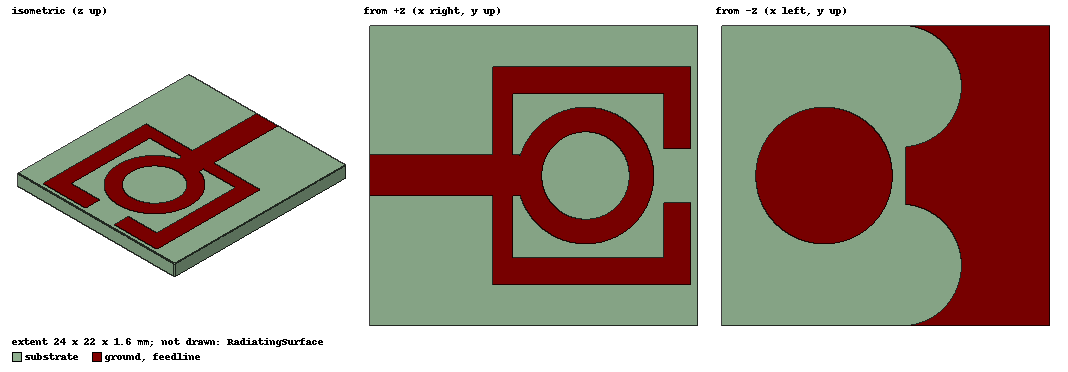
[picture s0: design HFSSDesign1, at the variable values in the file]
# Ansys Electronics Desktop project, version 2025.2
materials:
  vacuum: permittivity=1
  FR4_epoxy: permittivity=4.4 dielectric_loss_tangent=0.02

design HFSSDesign1 (HFSS, HFSS Modal Network, model units mm)
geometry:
  substrate [FR4_epoxy] = box(corner=((-24/2) mm, (-22/2) mm, 0mm), size=(24mm, 22mm, 1.6mm))
  ground = rectangle(corner=(-1.5mm, (-22/2) mm, 0mm), x_size=-10.5mm, y_size=22mm)
  Circle1 = circle(normal=Z, centre=(-1.1mm, 6.55mm, 0mm), radius=4.45mm, segments=100)
  Circle2 = circle(normal=Z, centre=(-1.1mm, -6.55mm, 0mm), radius=4.45mm, segments=100)
  ground.subtract(Circle1, Circle2)
  Circle3 = circle(normal=Z, centre=(4.5mm, 0mm, 0mm), radius=5mm, segments=100)
  feedline = rectangle(corner=(-1mm, 1.5mm, 1.6mm), x_size=-11mm, y_size=-3mm)
  Circle4 = circle(normal=Z, centre=(3.8mm, 0mm, 1.6mm), radius=5mm, segments=100)
  Circle5 = circle(normal=Z, centre=(3.8mm, 0mm, 1.6mm), radius=3.2mm, segments=100)
  feedline.unite(Circle4)
  feedline.subtract(Circle5)
  Rectangle1 = rectangle(corner=(-1.5mm, 1.5mm, 1.6mm), x_size=-1.5mm, y_size=6.5mm)
  Rectangle2 = rectangle(corner=(-1.5mm, -8mm, 1.6mm), x_size=-1.5mm, y_size=6.5mm)
  Rectangle3 = rectangle(corner=(-1.5mm, 8mm, 1.6mm), x_size=13mm, y_size=-2mm)
  Rectangle4 = rectangle(corner=(-1.5mm, -6mm, 1.6mm), x_size=13mm, y_size=-2mm)
  Rectangle5 = rectangle(corner=(11.5mm, 6mm, 1.6mm), x_size=-2mm, y_size=-4mm)
  Rectangle6 = rectangle(corner=(11.5mm, -2mm, 1.6mm), x_size=-2mm, y_size=-4mm)
  feedline.unite(Rectangle1..Rectangle6)
  ground.unite(Circle3)
  RadiatingSurface [vacuum] = region(absolute_offset=41.666667mm on all sides)
  excitation = rectangle(corner=(-12mm, 1.5mm, 1.6mm), y_size=-3mm, z_size=-1.6mm)
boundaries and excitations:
  PerfE1: Perfect E Objects=feedline
  PerfE2: Perfect E Objects=ground
  Open1: Radiation Objects=RadiatingSurface
  1: Lumped Port Objects=excitation LumpedPortType=Modal Modes{Mode1{IntLine{(-12, 0, 0) -> (-12000mm, 0mm, 1500mm)} CharImp=Zpi}} Impedance=50ohm
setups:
  Setup1: HfssDriven Frequency=2.4GHz MaxDeltaS=0.02 MaximumPasses=12 MinimumPasses=1 MinimumConvergedPasses=1 PercentRefinement=30 BasisOrder=1 PortAccuracy=2 DrivenSolverType="Direct Solver"
    sweep Sweep: 1GHz to 10GHz, 1001 points; Type=Interpolating InterpTolerance=0.5 InterpMaxSolns=250 InterpUsePortImped=false PassivityErrorTolerance=0.0001
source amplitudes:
  1:1: 1V 0deg
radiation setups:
  3D: Infinite Sphere Theta=0deg..180deg step 2deg Phi=-180deg..180deg step 2deg
  Elevation: Infinite Sphere Theta=-180deg..180deg step 1deg Phi=0deg..90deg step 90deg
  Azimuth: Infinite Sphere Theta=90deg..90deg step 0deg Phi=-180deg..180deg step 1deg
  Infinite Sphere1: Infinite Sphere Theta=0deg..180deg step 2deg Phi=0deg..360deg step 2deg
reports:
  S Parameter Plot1: dB(S(1,1)) vs Freq on Setup1 : Sweep
  VSWR Plot1: VSWR(1) vs Freq on Setup1 : Sweep
  Gain Plot2: dB(GainTotal) vs Theta on Setup1 : LastAdaptive, 3D [Phi=all Freq=2.4GHz]
